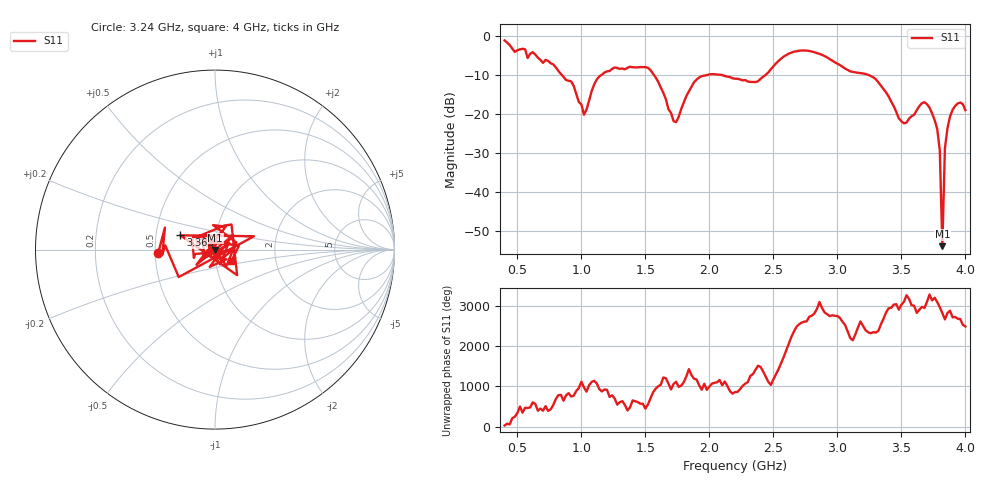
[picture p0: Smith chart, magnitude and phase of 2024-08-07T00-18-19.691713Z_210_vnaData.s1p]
!Created with skrf (http://scikit-rf.org).
# Hz S RI R 50.0
!freq ReS11 ImS11
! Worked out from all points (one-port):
!   181 points, 400 MHz to 4 GHz, reference 50 ohm
!   lowest |S11| = -53.9 dB at 3.82 GHz (marker M1), VSWR 1.00, Z = 50.1 - j0.177 ohm
!   |S11| at or under -10 dB: 1.566 GHz to 1.988 GHz (422.2 MHz wide, 23.8 % of centre); 2.088 GHz to 2.44 GHz (352.4 MHz wide, 15.6 % of centre); 3.24 GHz to end of sweep (the widest 3 of 4)
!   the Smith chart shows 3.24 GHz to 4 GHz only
!   S11 on the Smith chart (normalised r, x): 3.24 GHz: 0.52, -0.02; 3.36 GHz: 0.67, +0.11; 4 GHz: 1.19, -0.15
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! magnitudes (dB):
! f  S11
! 400 MHz  -1.2
! 860 MHz  -10.5
! 940 MHz  -12.9
! 1.02 GHz  -20.2
! 1.12 GHz  -11.2
! 1.3 GHz  -8.5
! 1.52 GHz  -8.2
! 1.6 GHz  -11.8
! 1.72 GHz  -21.9
! 1.76 GHz  -20.8
! 1.92 GHz  -10.7
! 2.2 GHz  -11.0
! 2.38 GHz  -11.7
! 2.66 GHz  -4.1
! 2.86 GHz  -4.6
! 3.1 GHz  -9.1
! 3.24 GHz  -10.0
! 3.36 GHz  -13.6
! 3.48 GHz  -21.1
! 3.56 GHz  -21.2
! 3.68 GHz  -17.0
! 3.78 GHz  -23.9
! 3.8 GHz  -29.4
! 3.82 GHz  -53.9
! 3.84 GHz  -28.8
! 3.86 GHz  -23.7
! 3.92 GHz  -18.0
! 4 GHz  -19.0
